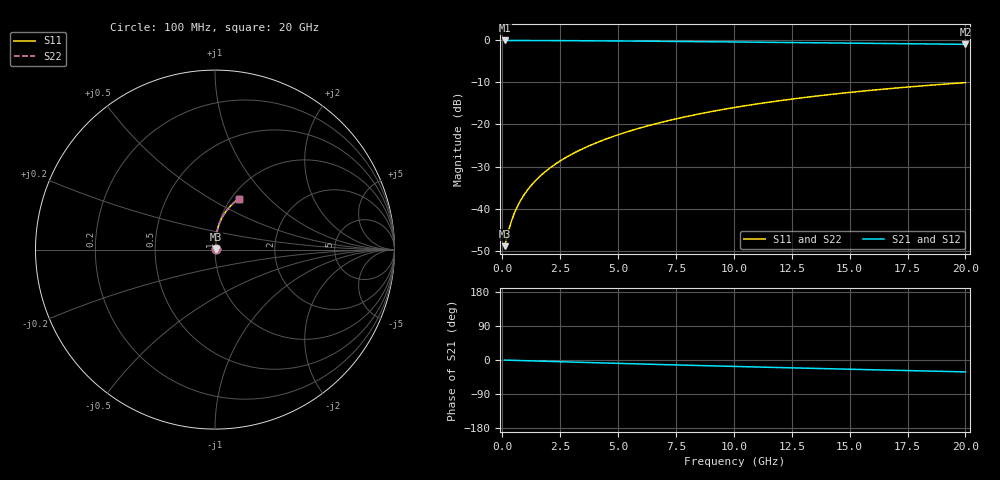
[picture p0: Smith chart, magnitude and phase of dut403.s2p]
! Touchstone file exported from HFSS 2024.1.0
!  File:  C:/UserFiles/LocalFiles/RDL_TSV_Batchsim/temp_RDL_top_403_1779675202.aedt
!  Generated:  10:16:02 AM May 25, 2026
!  Design:  RDL_top
!  Project:  temp_RDL_top_403_1779675202
!  Setup:  Setup1
!  Solution:  Sweep
! Variables:
!  dtsv = 10.80580581um
!  hbump = 3um
!  htsv = 89.46um
!  ldown = 100um
!  lrdl = 405.42um
!  p = 40
!  p1 = 50.72um
!  rhole = 1um
!  t = 450um
!  tdown = 3.915915916um
!  trdl = 2.27um
!  wdown = 15.38538539um
!  wrdl = 22.06um
# GHz S MA R 50.000000
! Terminal data exported
! Port[1] = Box2_T1
! Port[2] = Box2_T2
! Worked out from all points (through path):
!   200 points, 100 MHz to 20 GHz, reference 50 ohm
!   highest |S21| = -0.03 dB at 100 MHz (marker M1); lowest = -1.0 dB at 20 GHz (marker M2)
!   group delay of S21, straight-line fit = 4.33 ps
!   lowest |S11| = -48.9 dB at 100 MHz (marker M3), VSWR 1.01, Z = 50.3 + j0.161 ohm
!   |S11| at or under -10 dB: start of sweep to end of sweep
!   |S22| runs from -48.9 to -10.1 dB; largest |S21 - S12| = 3.3e-15
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0.1  0.003572 26.7  0.9968 -0.2  0.9968 -0.2  0.003572 26.7
! Gamma 0 0 0 0
! Port Impedance 50 0 50 0
0.3  0.00581 54.5  0.9966 -0.6  0.9966 -0.6  0.00581 54.5
0.4  0.007148 60.8  0.9964 -0.8  0.9964 -0.8  0.007148 60.8
0.5  0.008513 65.0  0.9963 -0.9  0.9963 -0.9  0.008513 65.0
0.6  0.009885 68.0  0.9961 -1.1  0.9961 -1.1  0.009885 68.0
0.7  0.01126 70.3  0.9959 -1.3  0.9959 -1.3  0.01126 70.3
0.9  0.01401 73.6  0.9956 -1.7  0.9956 -1.7  0.01401 73.6
1.2  0.01817 77.0  0.9951 -2.2  0.9951 -2.2  0.01817 76.9
1.4  0.02097 78.5  0.9948 -2.6  0.9948 -2.6  0.02097 78.5
1.7  0.02523 80.2  0.9942 -3.1  0.9942 -3.1  0.02523 80.2
2.2  0.03244 82.1  0.993 -4.0  0.993 -4.0  0.03244 82.1
2.8  0.04129 83.5  0.9914 -5.1  0.9914 -5.1  0.04129 83.5
3.5  0.05186 84.3  0.9891 -6.3  0.9891 -6.3  0.05186 84.3
4.2  0.0627 84.6  0.9864 -7.5  0.9864 -7.5  0.0627 84.6
5  0.07538 84.6  0.983 -8.9  0.983 -8.9  0.07538 84.5
6.8  0.1048 83.4  0.9742 -11.9  0.9742 -11.9  0.1048 83.4
8.4  0.1317 81.7  0.9656 -14.5  0.9656 -14.5  0.1317 81.7
10.1  0.1603 79.5  0.956 -17.1  0.956 -17.1  0.1603 79.5
11.7  0.187 77.2  0.9467 -19.6  0.9467 -19.6  0.187 77.2
13.4  0.2149 74.6  0.9365 -22.1  0.9365 -22.1  0.2148 74.6
16.7  0.2665 69.6  0.9164 -26.8  0.9164 -26.8  0.2664 69.6
20  0.3143 64.8  0.8957 -31.4  0.8957 -31.4  0.3142 64.8
